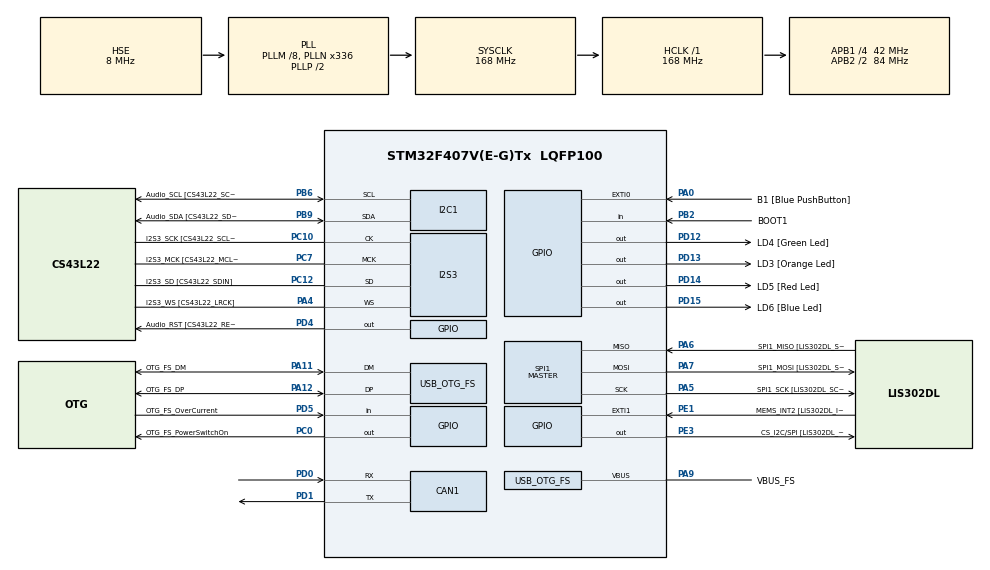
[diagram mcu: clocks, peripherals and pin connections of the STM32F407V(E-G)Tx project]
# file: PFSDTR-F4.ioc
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CAN1.CalculateTimeBit=1142
CAN1.CalculateTimeQuantum=380.95238095238096
FREERTOS.INCLUDE_pcTaskGetTaskName=1
FREERTOS.INCLUDE_vTaskDelayUntil=1
FREERTOS.Queues01=myQueue01,16,uint16_t,NULL;myQueue02,16,uint16_t,NULL
FREERTOS.Tasks01=defaultTask,0,128,StartDefaultTask,Default;myTask02,0,128,StartTask02,Default;myTask03,0,128,StartTask03,Default
FREERTOS.configCHECK_FOR_STACK_OVERFLOW=1
FREERTOS.configUSE_MALLOC_FAILED_HOOK=1
I2S3.AudioFreq-Half_Duplex_Master=I2S_AUDIOFREQ_96K
I2S3.ErrorAudioFreq=-2.34 %
I2S3.ErrorAudioFreq-Half_Duplex_Master=0.8 %
I2S3.RealAudioFreq=93.75 KHz
I2S3.RealAudioFreq-Half_Duplex_Master=96.774 KHz
Mcu.Family=STM32F4
Mcu.Name=STM32F407V(E-G)Tx
Mcu.Package=LQFP100
NVIC.CAN1_RX0_IRQn=true\:5\:0\:false\:false\:true\:true
NVIC.CAN1_RX1_IRQn=true\:5\:0\:false\:false\:true\:true
NVIC.CAN1_SCE_IRQn=true\:5\:0\:false\:false\:true\:true
NVIC.CAN1_TX_IRQn=true\:5\:0\:false\:false\:true\:true
NVIC.OTG_FS_IRQn=true\:5\:0\:false\:false\:true\:true
NVIC.PriorityGroup=NVIC_PRIORITYGROUP_4
NVIC.TIM4_IRQn=true\:0\:0\:false\:false\:true\:false
NVIC.TimeBase=TIM4_IRQn
NVIC.TimeBaseIP=TIM4
PA0-WKUP.GPIO_Label=B1 [Blue PushButton]
PA0-WKUP.GPIO_ModeDefaultEXTI=GPIO_MODE_EVT_RISING
PA0-WKUP.GPIO_PuPd=GPIO_NOPULL
PA0-WKUP.Signal=GPXTI0
PA10.GPIO_Label=OTG_FS_ID
PA10.GPIO_Mode=GPIO_MODE_AF_PP
PA10.GPIO_PuPd=GPIO_NOPULL
PA10.GPIO_Speed=GPIO_SPEED_FREQ_LOW
PA10.Signal=USB_OTG_FS_ID
PA11.GPIO_Label=OTG_FS_DM
PA11.GPIO_Mode=GPIO_MODE_AF_PP
PA11.GPIO_PuPd=GPIO_NOPULL
PA11.GPIO_Speed=GPIO_SPEED_FREQ_LOW
PA11.Mode=Host_Only
PA11.Signal=USB_OTG_FS_DM
PA12.GPIO_Label=OTG_FS_DP
PA12.GPIO_Mode=GPIO_MODE_AF_PP
PA12.GPIO_PuPd=GPIO_NOPULL
PA12.GPIO_Speed=GPIO_SPEED_FREQ_LOW
PA12.Mode=Host_Only
PA12.Signal=USB_OTG_FS_DP
PA13.GPIO_Label=SWDIO
PA13.Mode=Serial_Wire
PA13.Signal=SYS_JTMS-SWDIO
PA14.GPIO_Label=SWCLK
PA14.Mode=Serial_Wire
PA14.Signal=SYS_JTCK-SWCLK
PA4.GPIO_Label=I2S3_WS [CS43L22_LRCK]
PA4.GPIO_Mode=GPIO_MODE_AF_PP
PA4.GPIO_PuPd=GPIO_NOPULL
PA4.GPIO_Speed=GPIO_SPEED_FREQ_LOW
PA4.Mode=Half_Duplex_Master
PA4.Signal=I2S3_WS
PA5.GPIO_Label=SPI1_SCK [LIS302DL_SCL/SPC]
PA5.GPIO_Mode=GPIO_MODE_AF_PP
PA5.GPIO_PuPd=GPIO_NOPULL
PA5.GPIO_Speed=GPIO_SPEED_FREQ_LOW
PA5.Mode=Full_Duplex_Master
PA5.Signal=SPI1_SCK
PA6.GPIO_Label=SPI1_MISO [LIS302DL_SDO]
PA6.GPIO_Mode=GPIO_MODE_AF_PP
PA6.GPIO_PuPd=GPIO_NOPULL
PA6.GPIO_Speed=GPIO_SPEED_FREQ_LOW
PA6.Mode=Full_Duplex_Master
PA6.Signal=SPI1_MISO
PA7.GPIO_Label=SPI1_MOSI [LIS302DL_SDA/SDI/SDO]
PA7.GPIO_Mode=GPIO_MODE_AF_PP
PA7.GPIO_PuPd=GPIO_NOPULL
PA7.GPIO_Speed=GPIO_SPEED_FREQ_LOW
PA7.Mode=Full_Duplex_Master
PA7.Signal=SPI1_MOSI
PA9.GPIO_Label=VBUS_FS
PA9.GPIO_Mode=GPIO_MODE_INPUT
PA9.GPIO_PuPd=GPIO_NOPULL
PA9.Mode=Activate_VBUS
PA9.Signal=USB_OTG_FS_VBUS
PB10.GPIO_Label=CLK_IN [MP45DT02_CLK]
PB10.GPIO_Mode=GPIO_MODE_AF_PP
PB10.GPIO_PuPd=GPIO_NOPULL
PB10.GPIO_Speed=GPIO_SPEED_FREQ_LOW
PB10.Signal=I2S2_CK
PB2.GPIO_Label=BOOT1
PB2.GPIO_Mode=GPIO_MODE_INPUT
PB2.GPIO_PuPd=GPIO_NOPULL
PB2.Signal=GPIO_Input
PB3.GPIO_Label=SWO
PB3.Signal=SYS_JTDO-SWO
PB6.GPIO_Label=Audio_SCL [CS43L22_SCL]
PB6.GPIO_Mode=GPIO_MODE_AF_OD
PB6.GPIO_PuPd=GPIO_NOPULL
PB6.GPIO_Speed=GPIO_SPEED_FREQ_LOW
PB6.Mode=I2C
PB6.Signal=I2C1_SCL
PB9.GPIO_Label=Audio_SDA [CS43L22_SDA]
PB9.GPIO_Mode=GPIO_MODE_AF_OD
PB9.GPIO_PuPd=GPIO_NOPULL
PB9.GPIO_Speed=GPIO_SPEED_FREQ_LOW
PB9.Mode=I2C
PB9.Signal=I2C1_SDA
PC0.GPIO_Label=OTG_FS_PowerSwitchOn
PC0.GPIO_PuPd=GPIO_NOPULL
PC0.GPIO_Speed=GPIO_SPEED_FREQ_LOW
PC0.PinState=GPIO_PIN_SET
PC0.Signal=GPIO_Output
PC10.GPIO_Label=I2S3_SCK [CS43L22_SCLK]
PC10.GPIO_Mode=GPIO_MODE_AF_PP
PC10.GPIO_PuPd=GPIO_NOPULL
PC10.GPIO_Speed=GPIO_SPEED_FREQ_LOW
PC10.Mode=Half_Duplex_Master
PC10.Signal=I2S3_CK
PC12.GPIO_Label=I2S3_SD [CS43L22_SDIN]
PC12.GPIO_Mode=GPIO_MODE_AF_PP
PC12.GPIO_PuPd=GPIO_NOPULL
PC12.GPIO_Speed=GPIO_SPEED_FREQ_LOW
PC12.Mode=Half_Duplex_Master
PC12.Signal=I2S3_SD
PC14-OSC32_IN.GPIO_Label=PC14-OSC32_IN
PC14-OSC32_IN.Mode=LSE-External-Oscillator
PC14-OSC32_IN.Signal=RCC_OSC32_IN
PC15-OSC32_OUT.GPIO_Label=PC15-OSC32_OUT
PC15-OSC32_OUT.Mode=LSE-External-Oscillator
PC15-OSC32_OUT.Signal=RCC_OSC32_OUT
PC3.GPIO_Label=PDM_OUT [MP45DT02_DOUT]
PC3.GPIO_Mode=GPIO_MODE_AF_PP
PC3.GPIO_PuPd=GPIO_NOPULL
PC3.GPIO_Speed=GPIO_SPEED_FREQ_LOW
PC3.Signal=I2S2_SD
PC7.GPIO_Label=I2S3_MCK [CS43L22_MCLK]
PC7.GPIO_Mode=GPIO_MODE_AF_PP
PC7.GPIO_PuPd=GPIO_NOPULL
PC7.GPIO_Speed=GPIO_SPEED_FREQ_LOW
PC7.Mode=Master_Clock_Activated
PC7.Signal=I2S3_MCK
PD0.Mode=Master
PD0.Signal=CAN1_RX
PD1.Mode=Master
PD1.Signal=CAN1_TX
PD12.GPIO_Label=LD4 [Green Led]
PD12.GPIO_PuPd=GPIO_NOPULL
PD12.GPIO_Speed=GPIO_SPEED_FREQ_LOW
PD12.Signal=GPIO_Output
PD13.GPIO_Label=LD3 [Orange Led]
PD13.GPIO_PuPd=GPIO_NOPULL
PD13.GPIO_Speed=GPIO_SPEED_FREQ_LOW
PD13.Signal=GPIO_Output
PD14.GPIO_Label=LD5 [Red Led]
PD14.GPIO_PuPd=GPIO_NOPULL
PD14.GPIO_Speed=GPIO_SPEED_FREQ_LOW
PD14.Signal=GPIO_Output
PD15.GPIO_Label=LD6 [Blue Led]
PD15.GPIO_PuPd=GPIO_NOPULL
PD15.GPIO_Speed=GPIO_SPEED_FREQ_LOW
PD15.Signal=GPIO_Output
PD4.GPIO_Label=Audio_RST [CS43L22_RESET]
PD4.GPIO_PuPd=GPIO_NOPULL
PD4.GPIO_Speed=GPIO_SPEED_FREQ_LOW
PD4.Signal=GPIO_Output
PD5.GPIO_Label=OTG_FS_OverCurrent
PD5.GPIO_Mode=GPIO_MODE_INPUT
PD5.GPIO_PuPd=GPIO_NOPULL
PD5.Signal=GPIO_Input
PE1.GPIO_Label=MEMS_INT2 [LIS302DL_INT2]
PE1.GPIO_ModeDefaultEXTI=GPIO_MODE_EVT_RISING
PE1.GPIO_PuPd=GPIO_NOPULL
PE1.Signal=GPXTI1
PE3.GPIO_Label=CS_I2C/SPI [LIS302DL_CS_I2C/SPI]
PE3.GPIO_PuPd=GPIO_NOPULL
PE3.GPIO_Speed=GPIO_SPEED_FREQ_LOW
PE3.Signal=GPIO_Output
PH0-OSC_IN.GPIO_Label=PH0-OSC_IN
PH0-OSC_IN.Mode=HSE-External-Oscillator
PH0-OSC_IN.Signal=RCC_OSC_IN
PH1-OSC_OUT.GPIO_Label=PH1-OSC_OUT
PH1-OSC_OUT.Mode=HSE-External-Oscillator
PH1-OSC_OUT.Signal=RCC_OSC_OUT
ProjectManager.HeapSize=0x200
ProjectManager.StackSize=0x400
ProjectManager.TargetToolchain=SW4STM32
RCC.48MHZClocksFreq_Value=48000000
RCC.AHBFreq_Value=168000000
RCC.APB1CLKDivider=RCC_HCLK_DIV4
RCC.APB1Freq_Value=42000000
RCC.APB1TimFreq_Value=84000000
RCC.APB2CLKDivider=RCC_HCLK_DIV2
RCC.APB2Freq_Value=84000000
RCC.APB2TimFreq_Value=168000000
RCC.CortexFreq_Value=168000000
RCC.HCLKFreq_Value=168000000
RCC.HSE_VALUE=8000000
RCC.HSI_VALUE=16000000
RCC.PLLM=8
RCC.PLLN=336
RCC.PLLQ=7
RCC.SYSCLKFreq_VALUE=168000000
RCC.SYSCLKSource=RCC_SYSCLKSOURCE_PLLCLK
RCC.VCOOutputFreq_Value=336000000
SPI1.BaudRatePrescaler-Full_Duplex_Master=SPI_BAUDRATEPRESCALER_2
SPI1.CalculateBaudRate-Full_Duplex_Master=42.0 MBits/s
SPI1.Mode=SPI_MODE_MASTER
SPI1.Mode-Full_Duplex_Master=SPI_MODE_MASTER
USB_HOST.BSP.number=1
USB_HOST.USBH_HandleTypeDef-CDC_FS=hUsbHostFS
USB_HOST.VirtualModeFS=Cdc
USB_HOST0.BSP.STBoard=false
USB_HOST0.BSP.i2caddr=0
USB_HOST0.BSP.i2creg=0
USB_HOST0.BSP.instance=PC0
USB_HOST0.BSP.ip=GPIO
USB_HOST0.BSP.mode=Output
USB_HOST0.BSP.name=Drive_VBUS_FS
USB_OTG_FS.phy_itface=HCD_PHY_EMBEDDED
VP_FREERTOS_VS_ENABLE.Mode=Enabled
VP_SYS_VS_tim4.Mode=TIM4
VP_USB_HOST_VS_USB_HOST_CDC_FS.Mode=CDC_FS
board=STM32F4DISCOVERY

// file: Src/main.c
/**
  ******************************************************************************
  *  Name        : main.c
  *  Author      : Alejandro Borghero
  *  Version     :
  *  Copyright   : GPLv3
  *  Description : Planificación Óptima de un Sistema Multiprocesador de Tiempo
  *                Real con Restricciones de Precedencia, Comunicación y Energía
  ******************************************************************************
  *
  *  Copyright (c) 2016 Alejandro Borghero <alejandro.borghero@uns.edu.ar>
  *
  *  This program is free software: you can redistribute it and/or modify
  *  it under the terms of the GNU General Public License as published by
  *  the Free Software Foundation, either version 3 of the License.
  *
  *  This program is distributed in the hope that it will be useful,
  *  but WITHOUT ANY WARRANTY; without even the implied warranty of
  *  MERCHANTABILITY or FITNESS FOR A PARTICULAR PURPOSE.  See the
  *  GNU General Public License for more details.
  *
  *  You should have received a copy of the GNU General Public License
  *  along with this program.  If not, see <http://www.gnu.org/licenses/>.
  *
  ******************************************************************************
  *
  * TODO:
  * 			Verify the can TxMessage and RxMessage  to the handler (hcan)
  * 			Program Queues for tasks
  *
  */

#include "main.h"
#include "stm32f4xx_hal.h"
#include "usb_host.h"

//#define RTOS 'C' 				// Use CMSIS_OS
#define RTOS 'F'					// Use FreeRTOS

#if RTOS == 'C'
#define CMSISOS
#endif

#ifdef CMSISOS
#include "cmsis_os.h"
#else
#include "FreeRTOS.h"
#include "task.h"
#include "queue.h"
#endif

/* USER CODE BEGIN Includes */
#define 	LED_GPIO_Port 			GPIOD
#define		LED_ORANGE					LD3_Pin
#define		LED_GREEN						LD4_Pin
#define		LED_RED	 						LD5_Pin
#define		LED_BLUE 						LD6_Pin
#define		LED_ORANGE_ON()			HAL_GPIO_WritePin(GPIOD, LD3_Pin, GPIO_PIN_SET)
#define		LED_GREEN_ON()			HAL_GPIO_WritePin(GPIOD, LD4_Pin, GPIO_PIN_SET)
#define		LED_RED_ON()				HAL_GPIO_WritePin(GPIOD, LD5_Pin, GPIO_PIN_SET)
#define		LED_BLUE_ON()				HAL_GPIO_WritePin(GPIOD, LD6_Pin, GPIO_PIN_SET)
#define		LED_ORANGE_OFF()		HAL_GPIO_WritePin(GPIOD, LD3_Pin, GPIO_PIN_RESET)
#define		LED_GREEN_OFF()			HAL_GPIO_WritePin(GPIOD, LD4_Pin, GPIO_PIN_RESET)
#define		LED_RED_OFF()				HAL_GPIO_WritePin(GPIOD, LD5_Pin, GPIO_PIN_RESET)
#define		LED_BLUE_OFF()			HAL_GPIO_WritePin(GPIOD, LD6_Pin, GPIO_PIN_RESET)
#define		LED_ORANGE_TOGGLE()	HAL_GPIO_TogglePin(GPIOD, LD3_Pin)
#define		LED_GREEN_TOGGLE()	HAL_GPIO_TogglePin(GPIOD, LD4_Pin)
#define		LED_RED_TOGGLE()		HAL_GPIO_TogglePin(GPIOD, LD5_Pin)
#define		LED_BLUE_TOGGLE()		HAL_GPIO_TogglePin(GPIOD, LD6_Pin)

#define		BUTTON_GPIO_Port	GPIOA
#define		BUTTON				B1_Pin
#define		BUTTON_PRESSED		1
/* USER CODE END Includes */

CAN_HandleTypeDef hcan1;

I2C_HandleTypeDef hi2c1;

I2S_HandleTypeDef hi2s3;

SPI_HandleTypeDef hspi1;

#ifdef CMSISOS
osThreadId defaultTaskHandle;
osThreadId myTask02Handle;
osThreadId myTask03Handle;
osMessageQId myQueue01Handle;
osMessageQId myQueue02Handle;
#endif

/* USER CODE BEGIN PV */
/* Private variables ---------------------------------------------------------*/
enum SysFreq{F_025, F_050, F_075, F_100};
/* USER CODE END PV */

void SystemClock_Config(void);
void Error_Handler(uint8_t);
static void MX_GPIO_Init(void);
static void MX_I2C1_Init(void);
static void MX_I2S3_Init(void);
static void MX_SPI1_Init(void);
static void MX_CAN1_Init(void);
HAL_StatusTypeDef ALE_CAN_Receive_IT(CAN_HandleTypeDef *hcan, uint8_t FIFONumber);

HAL_StatusTypeDef CAN_Polling(void);

#ifdef CMSISOS
void StartDefaultTask(void const * argument);
void StartTask02(void const * argument);
void StartTask03(void const * argument);
#else
static void Task_Body( void* pvParams );
#endif
/* USER CODE BEGIN PFP */
/* Private function prototypes -----------------------------------------------*/

/* USER CODE END PFP */

int main(void)
{

  /* MCU Configuration----------------------------------------------------------*/

  /* Reset of all peripherals, Initializes the Flash interface and the Systick. */
  HAL_Init();

  /* Configure the system clock */
  SystemClock_Config();

  /* Initialize all configured peripherals */
  MX_GPIO_Init();
  MX_I2C1_Init();
  MX_I2S3_Init();
  MX_SPI1_Init();
  MX_CAN1_Init();

  /* Create the thread(s) */
#ifdef CMSISOS
  /* definition and creation of defaultTask */
  osThreadDef(defaultTask, StartDefaultTask, osPriorityNormal, 0, 128);
  defaultTaskHandle = osThreadCreate(osThread(defaultTask), NULL);

  /* definition and creation of myTask02 */
  osThreadDef(myTask02, StartTask02, osPriorityNormal, 0, 128);
  myTask02Handle = osThreadCreate(osThread(myTask02), NULL);

  /* definition and creation of myTask03 */
  osThreadDef(myTask03, StartTask03, osPriorityNormal, 0, 128);
  myTask03Handle = osThreadCreate(osThread(myTask03), NULL);
#else
  xTaskCreate( Task_Body, NULL, 128, NULL, configMAX_PRIORITIES-1, NULL );
#endif

  /* Create the queue(s) */
#ifdef CMSISOS
  /* definition and creation of myQueue01 */
  osMessageQDef(myQueue01, 16, uint16_t);
  myQueue01Handle = osMessageCreate(osMessageQ(myQueue01), NULL);

  /* definition and creation of myQueue02 */
  osMessageQDef(myQueue02, 16, uint16_t);
  myQueue02Handle = osMessageCreate(osMessageQ(myQueue02), NULL);
#else
  //PROGRAMAR LAS COLAS!!
#endif

  /* Start scheduler */
#ifdef CMSISOS
  osKernelStart();
#else
  vTaskStartScheduler();
#endif

  /* We should never get here as control is now taken by the scheduler */

  /* Infinite loop */
  /* USER CODE BEGIN WHILE */
  for(;;);

  while (1)
  {
  /* USER CODE END WHILE */

  }

}

/** System Clock Configuration
*/
void SystemClock_Config(void)
{

  RCC_OscInitTypeDef RCC_OscInitStruct;
  RCC_ClkInitTypeDef RCC_ClkInitStruct;
  RCC_PeriphCLKInitTypeDef PeriphClkInitStruct;

    /**Configure the main internal regulator output voltage
    */
  __HAL_RCC_PWR_CLK_ENABLE();

  __HAL_PWR_VOLTAGESCALING_CONFIG(PWR_REGULATOR_VOLTAGE_SCALE1);

    /**Initializes the CPU, AHB and APB busses clocks
    */
  RCC_OscInitStruct.OscillatorType = RCC_OSCILLATORTYPE_HSE;
  RCC_OscInitStruct.HSEState = RCC_HSE_ON;
  RCC_OscInitStruct.PLL.PLLState = RCC_PLL_ON;
  RCC_OscInitStruct.PLL.PLLSource = RCC_PLLSOURCE_HSE;
  RCC_OscInitStruct.PLL.PLLM = 8;
  RCC_OscInitStruct.PLL.PLLN = 336;
  RCC_OscInitStruct.PLL.PLLP = RCC_PLLP_DIV2;
  RCC_OscInitStruct.PLL.PLLQ = 7;
  if (HAL_RCC_OscConfig(&RCC_OscInitStruct) != HAL_OK)
  {
    Error_Handler(1);
  }

    /**Initializes the CPU, AHB and APB busses clocks
    */
  RCC_ClkInitStruct.ClockType = RCC_CLOCKTYPE_HCLK|RCC_CLOCKTYPE_SYSCLK
                              |RCC_CLOCKTYPE_PCLK1|RCC_CLOCKTYPE_PCLK2;
  RCC_ClkInitStruct.SYSCLKSource = RCC_SYSCLKSOURCE_PLLCLK;
  RCC_ClkInitStruct.AHBCLKDivider = RCC_SYSCLK_DIV1;
  RCC_ClkInitStruct.APB1CLKDivider = RCC_HCLK_DIV4;
  RCC_ClkInitStruct.APB2CLKDivider = RCC_HCLK_DIV2;

  if (HAL_RCC_ClockConfig(&RCC_ClkInitStruct, FLASH_LATENCY_5) != HAL_OK)
  {
    Error_Handler(1);
  }

  PeriphClkInitStruct.PeriphClockSelection = RCC_PERIPHCLK_I2S;
  PeriphClkInitStruct.PLLI2S.PLLI2SN = 192;
  PeriphClkInitStruct.PLLI2S.PLLI2SR = 2;
  if (HAL_RCCEx_PeriphCLKConfig(&PeriphClkInitStruct) != HAL_OK)
  {
    Error_Handler(1);
  }

    /**Configure the Systick interrupt time
    */
  HAL_SYSTICK_Config(HAL_RCC_GetHCLKFreq()/1000);

    /**Configure the Systick
    */
  HAL_SYSTICK_CLKSourceConfig(SYSTICK_CLKSOURCE_HCLK);

  /* SysTick_IRQn interrupt configuration */
  HAL_NVIC_SetPriority(SysTick_IRQn, 15, 0);
}

/* CAN1 init function */
static void MX_CAN1_Init(void)
{

	CAN_FilterConfTypeDef  sFilterConfig;
	static CanTxMsgTypeDef        TxMessage;
	static CanRxMsgTypeDef        RxMessage;

// Configuration of interface
  hcan1.Instance = CAN1;
  hcan1.pTxMsg = &TxMessage;
  hcan1.pRxMsg = &RxMessage;
  hcan1.Init.TTCM = DISABLE;
  hcan1.Init.ABOM = DISABLE;
  hcan1.Init.AWUM = DISABLE;
  hcan1.Init.NART = DISABLE;
  hcan1.Init.RFLM = DISABLE;
  hcan1.Init.TXFP = DISABLE;

  // See RM0090 - pag. 1097
  //	BaudRate = 1 / NominalBitTime
  //	NominalBitTime = tq + tBS1 + tBS2
  //	tBS1 = tq x ( TS1[3:0] + 1 )
  //	tBS2 = tq x ( TS2[2:0] + 1 )
  //	tq = ( BRP[9:0] + 1 ) x tPCLK

//  hcan1.Init.Mode = CAN_MODE_NORMAL;
  hcan1.Init.Mode = CAN_MODE_LOOPBACK;		// Loopback mode, restore NORMAL mode at the end of the test

  //  Prescaler  =  PCLK1 / ( BaudRate * total_of_tq )
  //  total_of_tq = CAN_SJW + CAN_BS1 + CAN_BS2
  //  total of tq = ( PCKL1 / Prescaler ) / BaudRate

//  Values ranges ( RM0090 - pag. 1096 )
//  	  CAN_SJW = 1 a  4 TQ        --> Typically 1TQ
//  	  CAN_BS1 = 1 a 16 TQ
//  	  CAN_BS2 = 1 a  8 TQ
//  	  Prescaler = 1 a 1024

//  Sampling is typically used between 75% (ARINC 825) and 87.5% (CANopen)
//  Thus (( CAN_SJW + CAN_BS1 ) / ( CAN_SJW + CAN_BS1 + CAN_BS2 )) = 0.875 ( RM0090 - pag. 1097 )

//  total of tq = ( PCKL1 / Prescaler ) / BaudRate = ( 42000000 / 1000000 ) / Prescaler
  // 		 for Prescaler  = 2	=>	total_of_tq = 21
  // 		 for Prescaler  = 3	=>	total_of_tq = 14
  // 		 for Prescaler  = 6	=>	total_of_tq = 7
  // 		 for Prescaler  = 7	=>	total_of_tq = 6
  // 		 for Prescaler  = 14	=>	total_of_tq = 3

//  Using CAN_SJW = 1TQ , CAN_BS1 = 11TQ , CAN_BS2 = 2TQ result:
//  	  	  total_of_tq = CAN_SJW + CAN_BS1 + CAN_BS2 = 14
//  	  	  sampling = (( CAN_SJW + CAN_BS1 ) / ( CAN_SJW + CAN_BS1 + CAN_BS2 )) = 0.857
//	Prescaler = PCLK1 / ( BaudRate * total_of_tq ) = ( 42000000 / 14 ) / 1000000 = 3

  hcan1.Init.SJW = CAN_SJW_1TQ;
  hcan1.Init.BS1 = CAN_BS1_11TQ;
  hcan1.Init.BS2 = CAN_BS2_2TQ;
  hcan1.Init.Prescaler = 3;

  if (HAL_CAN_Init(&hcan1) != HAL_OK)
  {
    Error_Handler(1);
  }

// Filter configuration
  sFilterConfig.FilterNumber = 0;
  sFilterConfig.FilterMode = CAN_FILTERMODE_IDMASK;
  sFilterConfig.FilterScale = CAN_FILTERSCALE_32BIT;
  sFilterConfig.FilterIdHigh = 0x0000;
  sFilterConfig.FilterIdLow = 0x0000;
  sFilterConfig.FilterMaskIdHigh = 0x0000;
  sFilterConfig.FilterMaskIdLow = 0x0000;
  sFilterConfig.FilterFIFOAssignment = 0;
  sFilterConfig.FilterActivation = ENABLE;
  sFilterConfig.BankNumber = 14;

  if(HAL_CAN_ConfigFilter(&hcan1, &sFilterConfig) != HAL_OK)
  {
    /* Filter configuration Error */
    Error_Handler(1);
  }
// Configure transmission process
  hcan1.pTxMsg->StdId = 0x11;
  hcan1.pTxMsg->ExtId = 0x0;
  hcan1.pTxMsg->RTR = CAN_RTR_DATA;
  hcan1.pTxMsg->IDE = CAN_ID_STD;
  hcan1.pTxMsg->DLC = 2;
}

/* I2C1 init function */
static void MX_I2C1_Init(void)
{

  hi2c1.Instance = I2C1;
  hi2c1.Init.ClockSpeed = 100000;
  hi2c1.Init.DutyCycle = I2C_DUTYCYCLE_2;
  hi2c1.Init.OwnAddress1 = 0;
  hi2c1.Init.AddressingMode = I2C_ADDRESSINGMODE_7BIT;
  hi2c1.Init.DualAddressMode = I2C_DUALADDRESS_DISABLE;
  hi2c1.Init.OwnAddress2 = 0;
  hi2c1.Init.GeneralCallMode = I2C_GENERALCALL_DISABLE;
  hi2c1.Init.NoStretchMode = I2C_NOSTRETCH_DISABLE;
  if (HAL_I2C_Init(&hi2c1) != HAL_OK)
  {
    Error_Handler(1);
  }

}

/* I2S3 init function */
static void MX_I2S3_Init(void)
{

  hi2s3.Instance = SPI3;
  hi2s3.Init.Mode = I2S_MODE_MASTER_TX;
  hi2s3.Init.Standard = I2S_STANDARD_PHILIPS;
  hi2s3.Init.DataFormat = I2S_DATAFORMAT_16B;
  hi2s3.Init.MCLKOutput = I2S_MCLKOUTPUT_ENABLE;
  hi2s3.Init.AudioFreq = I2S_AUDIOFREQ_96K;
  hi2s3.Init.CPOL = I2S_CPOL_LOW;
  hi2s3.Init.ClockSource = I2S_CLOCK_PLL;
  hi2s3.Init.FullDuplexMode = I2S_FULLDUPLEXMODE_DISABLE;
  if (HAL_I2S_Init(&hi2s3) != HAL_OK)
  {
    Error_Handler(1);
  }

}

/* SPI1 init function */
static void MX_SPI1_Init(void)
{

  hspi1.Instance = SPI1;
  hspi1.Init.Mode = SPI_MODE_MASTER;
  hspi1.Init.Direction = SPI_DIRECTION_2LINES;
  hspi1.Init.DataSize = SPI_DATASIZE_8BIT;
  hspi1.Init.CLKPolarity = SPI_POLARITY_LOW;
  hspi1.Init.CLKPhase = SPI_PHASE_1EDGE;
  hspi1.Init.NSS = SPI_NSS_SOFT;
  hspi1.Init.BaudRatePrescaler = SPI_BAUDRATEPRESCALER_2;
  hspi1.Init.FirstBit = SPI_FIRSTBIT_MSB;
  hspi1.Init.TIMode = SPI_TIMODE_DISABLE;
  hspi1.Init.CRCCalculation = SPI_CRCCALCULATION_DISABLE;
  hspi1.Init.CRCPolynomial = 10;
  if (HAL_SPI_Init(&hspi1) != HAL_OK)
  {
    Error_Handler(1);
  }

}

/** Configure pins as
        * Analog
        * Input
        * Output
        * EVENT_OUT
        * EXTI
     PC3   ------> I2S2_SD
     PB10   ------> I2S2_CK
*/
static void MX_GPIO_Init(void)
{

  GPIO_InitTypeDef GPIO_InitStruct;

  /* GPIO Ports Clock Enable */
  __HAL_RCC_GPIOE_CLK_ENABLE();
  __HAL_RCC_GPIOC_CLK_ENABLE();
  __HAL_RCC_GPIOH_CLK_ENABLE();
  __HAL_RCC_GPIOA_CLK_ENABLE();
  __HAL_RCC_GPIOB_CLK_ENABLE();
  __HAL_RCC_GPIOD_CLK_ENABLE();

  /*Configure GPIO pin Output Level */
  HAL_GPIO_WritePin(CS_I2C_SPI_GPIO_Port, CS_I2C_SPI_Pin, GPIO_PIN_RESET);

  /*Configure GPIO pin Output Level */
  HAL_GPIO_WritePin(OTG_FS_PowerSwitchOn_GPIO_Port, OTG_FS_PowerSwitchOn_Pin, GPIO_PIN_SET);

  /*Configure GPIO pin Output Level */
  HAL_GPIO_WritePin(GPIOD, LD4_Pin|LD3_Pin|LD5_Pin|LD6_Pin
                          |Audio_RST_Pin, GPIO_PIN_RESET);

  /*Configure GPIO pin : CS_I2C_SPI_Pin */
  GPIO_InitStruct.Pin = CS_I2C_SPI_Pin;
  GPIO_InitStruct.Mode = GPIO_MODE_OUTPUT_PP;
  GPIO_InitStruct.Pull = GPIO_NOPULL;
  GPIO_InitStruct.Speed = GPIO_SPEED_FREQ_LOW;
  HAL_GPIO_Init(CS_I2C_SPI_GPIO_Port, &GPIO_InitStruct);

  /*Configure GPIO pin : OTG_FS_PowerSwitchOn_Pin */
  GPIO_InitStruct.Pin = OTG_FS_PowerSwitchOn_Pin;
  GPIO_InitStruct.Mode = GPIO_MODE_OUTPUT_PP;
  GPIO_InitStruct.Pull = GPIO_NOPULL;
  GPIO_InitStruct.Speed = GPIO_SPEED_FREQ_LOW;
  HAL_GPIO_Init(OTG_FS_PowerSwitchOn_GPIO_Port, &GPIO_InitStruct);

  /*Configure GPIO pin : PDM_OUT_Pin */
  GPIO_InitStruct.Pin = PDM_OUT_Pin;
  GPIO_InitStruct.Mode = GPIO_MODE_AF_PP;
  GPIO_InitStruct.Pull = GPIO_NOPULL;
  GPIO_InitStruct.Speed = GPIO_SPEED_FREQ_LOW;
  GPIO_InitStruct.Alternate = GPIO_AF5_SPI2;
  HAL_GPIO_Init(PDM_OUT_GPIO_Port, &GPIO_InitStruct);

  /*Configure GPIO pin : B1_Pin */
  GPIO_InitStruct.Pin = B1_Pin;
  GPIO_InitStruct.Mode = GPIO_MODE_EVT_RISING;
  GPIO_InitStruct.Pull = GPIO_NOPULL;
  HAL_GPIO_Init(B1_GPIO_Port, &GPIO_InitStruct);

  /*Configure GPIO pin : BOOT1_Pin */
  GPIO_InitStruct.Pin = BOOT1_Pin;
  GPIO_InitStruct.Mode = GPIO_MODE_INPUT;
  GPIO_InitStruct.Pull = GPIO_NOPULL;
  HAL_GPIO_Init(BOOT1_GPIO_Port, &GPIO_InitStruct);

  /*Configure GPIO pin : CLK_IN_Pin */
  GPIO_InitStruct.Pin = CLK_IN_Pin;
  GPIO_InitStruct.Mode = GPIO_MODE_AF_PP;
  GPIO_InitStruct.Pull = GPIO_NOPULL;
  GPIO_InitStruct.Speed = GPIO_SPEED_FREQ_LOW;
  GPIO_InitStruct.Alternate = GPIO_AF5_SPI2;
  HAL_GPIO_Init(CLK_IN_GPIO_Port, &GPIO_InitStruct);

  /*Configure GPIO pins : LD4_Pin LD3_Pin LD5_Pin LD6_Pin
                           Audio_RST_Pin */
  GPIO_InitStruct.Pin = LD4_Pin|LD3_Pin|LD5_Pin|LD6_Pin
                          |Audio_RST_Pin;
  GPIO_InitStruct.Mode = GPIO_MODE_OUTPUT_PP;
  GPIO_InitStruct.Pull = GPIO_NOPULL;
  GPIO_InitStruct.Speed = GPIO_SPEED_FREQ_LOW;
  HAL_GPIO_Init(GPIOD, &GPIO_InitStruct);

  /*Configure GPIO pin : OTG_FS_OverCurrent_Pin */
  GPIO_InitStruct.Pin = OTG_FS_OverCurrent_Pin;
  GPIO_InitStruct.Mode = GPIO_MODE_INPUT;
  GPIO_InitStruct.Pull = GPIO_NOPULL;
  HAL_GPIO_Init(OTG_FS_OverCurrent_GPIO_Port, &GPIO_InitStruct);

  /*Configure GPIO pin : MEMS_INT2_Pin */
  GPIO_InitStruct.Pin = MEMS_INT2_Pin;
  GPIO_InitStruct.Mode = GPIO_MODE_EVT_RISING;
  GPIO_InitStruct.Pull = GPIO_NOPULL;
  HAL_GPIO_Init(MEMS_INT2_GPIO_Port, &GPIO_InitStruct);

}

/* USER CODE BEGIN 4 */
HAL_StatusTypeDef CAN_Polling(void)
{

// Transmission start
  hcan1.pTxMsg->Data[0] = 0xCA;
  hcan1.pTxMsg->Data[1] = 0xFE;

  if(HAL_CAN_Transmit(&hcan1, 10) != HAL_OK)
  {
    /* Transmission Error */
    Error_Handler(1);
  }

  if(HAL_CAN_GetState(&hcan1) != HAL_CAN_STATE_READY)
  {
    return HAL_ERROR;
  }

// Reception start
  if(HAL_CAN_Receive(&hcan1, CAN_FIFO0,10) != HAL_OK)
  {
    /* Reception Error */
    Error_Handler(1);
  }

  if(HAL_CAN_GetState(&hcan1) != HAL_CAN_STATE_READY)
  {
    return HAL_ERROR;
  }

  if (hcan1.pRxMsg->StdId != 0x11)
  {
    return HAL_ERROR;
  }

  if (hcan1.pRxMsg->IDE != CAN_ID_STD)
  {
    return HAL_ERROR;
  }

  if (hcan1.pRxMsg->DLC != 2)
  {
    return HAL_ERROR;
  }

  if ((hcan1.pRxMsg->Data[0]<<8|hcan1.pRxMsg->Data[1]) != 0xCAFE)
  {
    return HAL_ERROR;
  }

  return HAL_OK; /* Test Passed */

}

/* USER CODE END 4 */

#ifdef CMSISOS
/* StartDefaultTask function */
void StartDefaultTask(void const * argument)
{
  /* init code for USB_HOST */
  MX_USB_HOST_Init();

  for(;;)
  {
    osDelay(1);
  }
}

/* StartTask02 function */
void StartTask02(void const * argument)
{
  /* USER CODE BEGIN StartTask02 */
  /* Infinite loop */
  for(;;)
  {
	  HAL_GPIO_TogglePin(GPIOD, LD3_Pin|LD4_Pin|LD5_Pin|LD6_Pin);
	  osDelay(100);
  }
  /* USER CODE END StartTask02 */
}

/* StartTask03 function */
void StartTask03(void const * argument)
{
  for(;;)
  {
    osDelay(1);
  }
}
#else
static void Task_Body( void* pvParams )
{
	/* A pointer to the subject task's name, which is a standard NULL terminated
	 * C string. */
	char *pcTaskName = pcTaskGetTaskName( NULL );

	portTickType xLastWakeTime=(portTickType)(0);

	uint8_t idx=0;

// Initiates the interrupt reception process
//  if(HAL_CAN_Receive_IT(&hcan1, CAN_FIFO0) != HAL_OK)
//  {
//    /* Reception Error */
//    Error_Handler(1);
//  }
 ALE_CAN_Receive_IT(&hcan1, CAN_FIFO0);

	for (;;)
	{
//		sprintf( "%s -- %d\n\r", pcTaskName, xTaskGetTickCount() );

		// The led flashes to show that the systems is working
		HAL_GPIO_TogglePin(GPIOD, LED_ORANGE);

/*
// 		Transmission and reception in Loopback mode (Polling)
		if ( CAN_Polling() == HAL_ERROR )
				HAL_GPIO_WritePin(GPIOD, LED_RED, GPIO_PIN_SET);
		else
			HAL_GPIO_WritePin(GPIOD, LED_GREEN, GPIO_PIN_SET);
*/

		if(HAL_GPIO_ReadPin(BUTTON_GPIO_Port, BUTTON) == BUTTON_PRESSED)
		{
			idx%=3;
			// Set the data to be transmitted
			hcan1.pTxMsg->Data[0] = ++idx;
			hcan1.pTxMsg->Data[1] = 0xAD;

//			HAL_GPIO_WritePin(GPIOD, LED_BLUE, GPIO_PIN_SET);
//			HAL_CAN_Transmit(&hcan1, 10);

			// Transmits the data
			if(HAL_CAN_Transmit(&hcan1, 10) != HAL_OK)
			{
				/* Transmition Error */
				Error_Handler(1);
			}
			HAL_Delay(10);
		}
		vTaskDelayUntil(&xLastWakeTime,100);
		//vTaskDelay(1000);
	}

	/* If the tasks ever leaves the for cycle, kill it. */
	vTaskDelete( NULL );
}
#endif

void HAL_TIM_PeriodElapsedCallback(TIM_HandleTypeDef *htim)
{
  if (htim->Instance == TIM4) {
    HAL_IncTick();
  }
}

void Error_Handler(uint8_t nerror)
{
	uint8_t i;
  /* USER CODE BEGIN Error_Handler */
  /* User can add his own implementation to report the HAL error return state */
	LED_RED_OFF();
  while(1)
  {
		for(i=0; i < nerror; ++i)
		{
			LED_RED_TOGGLE();
			HAL_Delay(500);
			LED_RED_TOGGLE();
			HAL_Delay(500);
		}
		HAL_Delay(1500);
  /* USER CODE END Error_Handler */
  }

}
// CAN Rx complete callback
void HAL_CAN_RxCpltCallback(CAN_HandleTypeDef* hcan)
{
  if ((hcan->pRxMsg->StdId == 0x11)&&(hcan->pRxMsg->IDE == CAN_ID_STD) && (hcan->pRxMsg->DLC == 2))
  {
  	HAL_GPIO_WritePin(GPIOD, LED_GREEN | LED_BLUE, GPIO_PIN_RESET);
    switch(hcan->pRxMsg->Data[0])
    {
    /* Shutdown leds */
    case 0:
    	HAL_GPIO_WritePin(GPIOD, LED_GREEN | LED_BLUE, GPIO_PIN_RESET);
    	break;
    case 1:
    	HAL_GPIO_WritePin(GPIOD, LED_GREEN, GPIO_PIN_SET);
    	break;
    case 2:
    	HAL_GPIO_WritePin(GPIOD, LED_BLUE, GPIO_PIN_SET);
    	break;
    case 3:
    	HAL_GPIO_WritePin(GPIOD, LED_GREEN | LED_BLUE, GPIO_PIN_SET);
    	break;
    case 4:
    	break;
    default:
    	break;
    }
  }

//  while(HAL_CAN_Receive_IT(hcan, CAN_FIFO0)  != HAL_OK)
//  	{
//  	HAL_GPIO_TogglePin(GPIOD, LED_BLUE);
// 		HAL_Delay(50);
//
//  	}

// Rearm the receive interrupt
  if(ALE_CAN_Receive_IT(hcan, CAN_FIFO0) != HAL_OK)
  {
    /* Reception Error */
    Error_Handler(3);
  }
}

/**
  * @brief  Receives a correct CAN frame. Modified to unlock the can interface.
  * @param  hcan:       Pointer to a CAN_HandleTypeDef structure that contains
  *         the configuration information for the specified CAN.
  * @param  FIFONumber: Specify the FIFO number
  * @retval HAL status
  */
HAL_StatusTypeDef ALE_CAN_Receive_IT(CAN_HandleTypeDef* hcan, uint8_t FIFONumber)
{

  /* Check the parameters */
  assert_param(IS_CAN_FIFO(FIFONumber));

	if(hcan->State == HAL_CAN_STATE_BUSY_TX)
	{
		/* Change CAN state */
		hcan->State = HAL_CAN_STATE_BUSY_TX_RX;
	}
	else
	{
		/* Change CAN state */
		hcan->State = HAL_CAN_STATE_BUSY_RX;

		/* Set CAN error code to none */
		hcan->ErrorCode = HAL_CAN_ERROR_NONE;

		/* Enable Error warning Interrupt */
		__HAL_CAN_ENABLE_IT(hcan, CAN_IT_EWG);

		/* Enable Error passive Interrupt */
		__HAL_CAN_ENABLE_IT(hcan, CAN_IT_EPV);

		/* Enable Bus-off Interrupt */
		__HAL_CAN_ENABLE_IT(hcan, CAN_IT_BOF);

		/* Enable Last error code Interrupt */
		__HAL_CAN_ENABLE_IT(hcan, CAN_IT_LEC);

		/* Enable Error Interrupt */
		__HAL_CAN_ENABLE_IT(hcan, CAN_IT_ERR);
	}

	if(FIFONumber == CAN_FIFO0)
	{
		/* Enable FIFO 0 message pending Interrupt */
		__HAL_CAN_ENABLE_IT(hcan, CAN_IT_FMP0);
	}
	else
	{
		/* Enable FIFO 1 message pending Interrupt */
		__HAL_CAN_ENABLE_IT(hcan, CAN_IT_FMP1);
	}

  /* Return function status */
  return HAL_OK;
}

/****************** Copyright (c) 2016 Alejandro Borghero  *****END OF FILE****/
